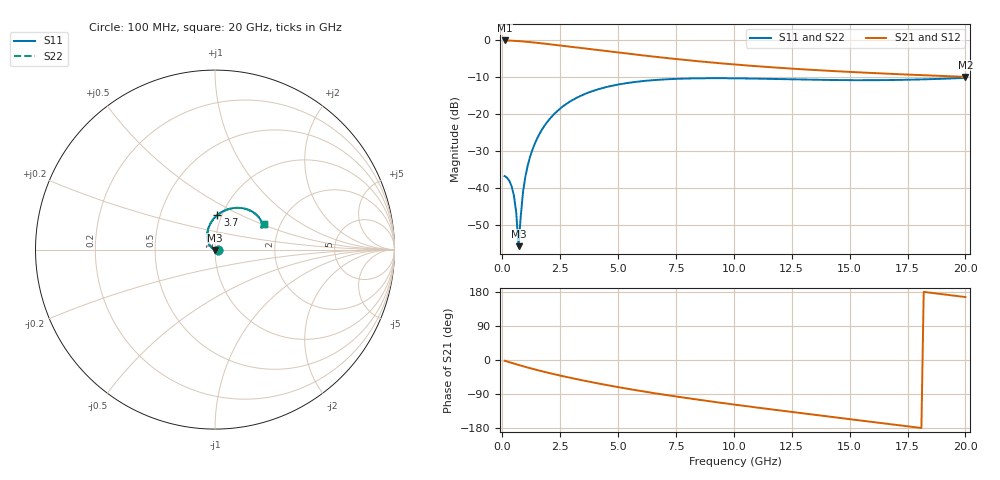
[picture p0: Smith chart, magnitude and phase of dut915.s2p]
! Touchstone file exported from HFSS 2024.1.0
!  File:  C:/UserFiles/LocalFiles/RDL_TSV_Batchsim/temp_RDL_TSV_915_1779956879.aedt
!  Generated:  04:41:28 PM May 28, 2026
!  Design:  RDL_TSV
!  Project:  temp_RDL_TSV_915_1779956879
!  Setup:  Setup1
!  Solution:  Sweep
! Variables:
!  dtsv = 11.61um
!  hbump = 3um
!  htsv = 90.33um
!  ldown = 537.34um
!  lrdl = 221.16um
!  p = 40
!  p1 = 57.89um
!  rhole = 10um
!  subl = 2496.66um
!  t = 450um
!  tdown = 4.22um
!  trdl = 2.5um
!  viad = 10um
!  wdown = 14.74um
!  wrdl = 26.93um
!  xbump = 18um
# GHz S MA R 50.000000
! Terminal data exported
! Port[1] = TM1_1_T1
! Port[2] = TM1_4_T1
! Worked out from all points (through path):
!   200 points, 100 MHz to 20 GHz, reference 50 ohm
!   highest |S21| = -0.13 dB at 100 MHz (marker M1); lowest = -10.0 dB at 20 GHz (marker M2)
!   group delay of S21, straight-line fit = 24.9 ps
!   lowest |S11| = -55.8 dB at 700 MHz (marker M3), VSWR 1.00, Z = 50 - j0.161 ohm
!   |S11| at or under -10 dB: start of sweep to end of sweep
!   |S22| runs from -55.8 to -10.3 dB; largest |S21 - S12| = 1.1e-14
!   S11 on the Smith chart (normalised r, x): 100 MHz: 1.03, -0.00; 3.7 GHz: 0.95, +0.38; 20 GHz: 1.64, +0.52
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0.1  0.01434 -2.6  0.9849 -1.9  0.9849 -1.9  0.01434 -2.6
! Gamma 0 0 0 0
! Port Impedance 50 0 50 0
0.3  0.01243 -10.0  0.9809 -5.7  0.9809 -5.7  0.01243 -10.0
0.4  0.01049 -15.0  0.9778 -7.6  0.9778 -7.6  0.01049 -15.1
0.5  0.007875 -21.7  0.9742 -9.4  0.9742 -9.4  0.007881 -21.7
0.6  0.004678 -33.5  0.97 -11.2  0.97 -11.2  0.004687 -33.5
0.7  0.001613 -89.5  0.9653 -13.0  0.9653 -13.0  0.00162 -89.2
0.8  0.004219 179.3  0.9602 -14.8  0.9602 -14.8  0.004207 179.4
0.9  0.009004 164.2  0.9546 -16.5  0.9546 -16.5  0.008987 164.3
1  0.01433 157.1  0.9486 -18.2  0.9486 -18.2  0.01431 157.1
1.2  0.02616 147.5  0.9358 -21.6  0.9358 -21.6  0.02613 147.6
1.4  0.03917 140.1  0.9221 -24.9  0.9221 -24.9  0.03913 140.1
1.8  0.06729 127.5  0.8932 -31.1  0.8932 -31.1  0.06723 127.5
2.2  0.09637 116.7  0.8638 -36.9  0.8638 -36.9  0.09628 116.7
2.8  0.1384 102.8  0.8203 -45.2  0.8203 -45.2  0.1383 102.8
3.5  0.1819 89.4  0.7717 -54.1  0.7717 -54.1  0.1817 89.4
3.7  0.1929 86.0  0.7583 -56.6  0.7583 -56.6  0.1927 86.0
5  0.249 67.6  0.6768 -71.6  0.6768 -71.6  0.2488 67.5
6.8  0.2898 49.8  0.5827 -89.8  0.5827 -89.8  0.2895 49.8
10.1  0.3024 31.8  0.4638 -118.3  0.4638 -118.3  0.3021 31.7
13.4  0.2897 25.4  0.3932 -144.0  0.3932 -144.0  0.2894 25.3
16.7  0.2865 26.0  0.3485 -168.9  0.3485 -168.9  0.2862 25.9
20  0.3064 27.9  0.3164 166.1  0.3164 166.1  0.306 27.8
